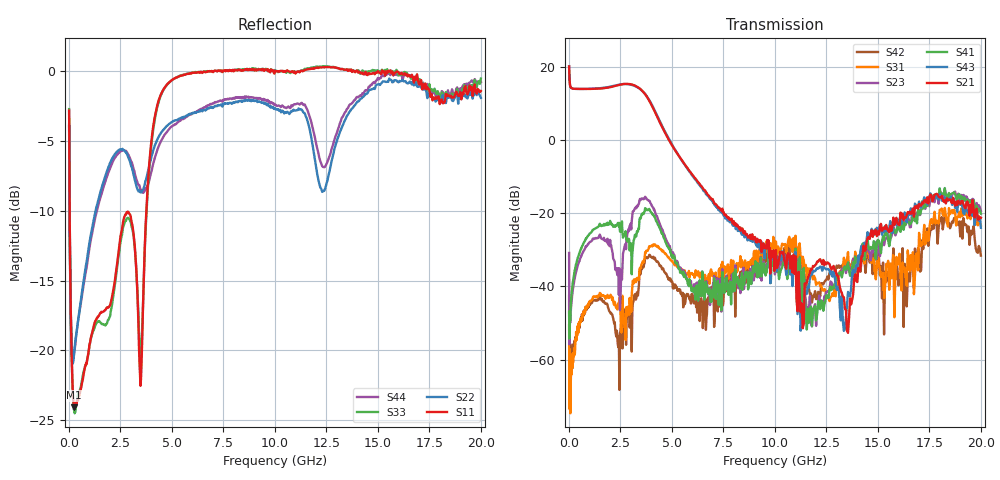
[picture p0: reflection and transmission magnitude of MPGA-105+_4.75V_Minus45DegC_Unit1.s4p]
!Mini-Circuits Laboratory
!S-Parameters
!Model: MPGA-105+
!Run / Lot / Date Code: NA / BP384P001-05 / 1348
!Fixture: NA; TB-561+
!AUTO PORT EXTENSION DONE: PORT<1>=113.35ps; PORT<2>=112.76ps; PORT<3>=112.16ps; PORT<4>=112.11ps
!Network Analyzer: PNA-X N5242A - 423 4 ports;  Serial number: 71256
!Date: 2/15/2014
!S/N: Unit# 1
!Correction: S11(Full 4 Port(1,2,3,4))
!S12(Full 4 Port(1,2,3,4))
!S13(Full 4 Port(1,2,3,4))
!S14(Full 4 Port(1,2,3,4))
!S21(Full 4 Port(1,2,3,4))
!S22(Full 4 Port(1,2,3,4))
!S23(Full 4 Port(1,2,3,4))
!S24(Full 4 Port(1,2,3,4))
!S31(Full 4 Port(1,2,3,4))
!S32(Full 4 Port(1,2,3,4))
!S33(Full 4 Port(1,2,3,4))
!S34(Full 4 Port(1,2,3,4))
!S41(Full 4 Port(1,2,3,4))
!S42(Full 4 Port(1,2,3,4))
!S43(Full 4 Port(1,2,3,4))
!S44(Full 4 Port(1,2,3,4))
!S4P File: Measurements: <S11,S12,S13,S14>,
!<S21,S22,S23,S24>,
!<S31,S32,S33,S34>,
!<S41,S42,S43,S44>:
# Hz S  dB  R 50
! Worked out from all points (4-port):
!   660 points, 10 MHz to 20 GHz, reference 50 ohm
!   strongest paths, dB at 10 MHz, 2.65 GHz, 6.775 GHz, 11.8 GHz, 20 GHz:
!     S21: 20.1, 15.3, -15.1, -35.4, -21.2
!     S43: 20.1, 15.3, -15.5, -36.8, -24.0
!     S41: -46.9, -26.2, -42.0, -50.9, -20.1
!     S23: -30.9, -30.5, -42.2, -50.9, -19.4
!     S31: -50.7, -48.6, -37.1, -37.1, -23.4
!     S42: -42.6, -48.5, -42.9, -44.4, -31.6
!   lowest |S11| = -24.1 dB at 260 MHz (marker M1), VSWR 1.13, Z = 44.7 - j2.66 ohm
!   |S11| at or under -10 dB: 36.18 MHz to 3.759 GHz (3.723 GHz wide, 196 % of centre)
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1e7  -2.81 -40.2  -22.59 47.8  -40.25 153.2  -48.73 174.6
     20.08 158.3  -3.93 -43.2  -30.86 162.9  -39.36 -174.5
     -50.69 -147.3  -55.00 -95.8  -2.70 -40.5  -22.57 51.5
     -46.89 -91.8  -42.59 -66.7  20.15 159.2  -3.81 -43.8
2.6e8  -24.09 -151.7  -18.19 -11.0  -57.34 95.7  -72.18 75.2
       13.98 158.2  -20.01 166.2  -38.51 60.3  -56.08 76.4
       -58.82 87.2  -72.41 106.6  -24.28 -151.8  -18.17 -11.1
       -36.31 58.9  -57.25 77.7  13.97 158.2  -20.15 170.7
1.525e9  -17.32 47.3  -19.86 -78.1  -42.59 65.1  -59.18 93.8
         14.02 77.3  -8.68 60.8  -26.22 -66.9  -42.72 40.0
         -41.88 40.6  -59.76 117.3  -17.99 47.4  -19.82 -79.5
         -23.17 -58.9  -43.03 20.0  14.14 76.5  -9.06 60.1
2.575e9  -11.34 -151.0  -25.23 -160.6  -40.38 33.2  -60.10 26.6
         15.17 -2.3  -5.60 -16.3  -38.12 -115.7  -45.59 5.2
         -46.38 8.8  -61.21 51.3  -11.73 -155.8  -25.17 -161.3
         -22.26 -153.1  -50.03 156.7  15.19 -5.3  -5.69 -20.2
3.25e9  -13.63 105.3  -26.08 -25.2  -56.36 154.7  -59.59 -122.6
        14.71 -71.6  -8.09 -95.6  -18.35 -119.4  -36.73 -159.2
        -38.84 145.8  -70.02 83.1  -13.67 106.7  -27.09 -29.1
        -26.43 -158.7  -43.61 153.4  14.59 -73.8  -7.61 -93.0
3.9e9  -6.62 162.8  -19.62 -117.4  -29.41 114.3  -43.99 124.4
       10.72 -144.7  -6.76 149.6  -16.59 124.1  -30.16 103.7
       -29.01 100.8  -45.90 104.8  -6.98 158.0  -19.73 -119.9
       -18.84 117.3  -31.40 105.1  10.90 -146.8  -7.80 153.4
2e10  -1.40 -85.5  -20.91 -127.6  -23.72 -11.3  -20.15 -170.0
      -21.24 -128.0  -1.89 -113.0  -19.43 -177.7  -31.78 -2.6
      -23.40 -11.8  -19.43 -178.0  -0.51 -122.4  -23.89 -111.3
      -20.12 -169.1  -31.58 -6.8  -23.99 -111.2  -0.76 -121.6
